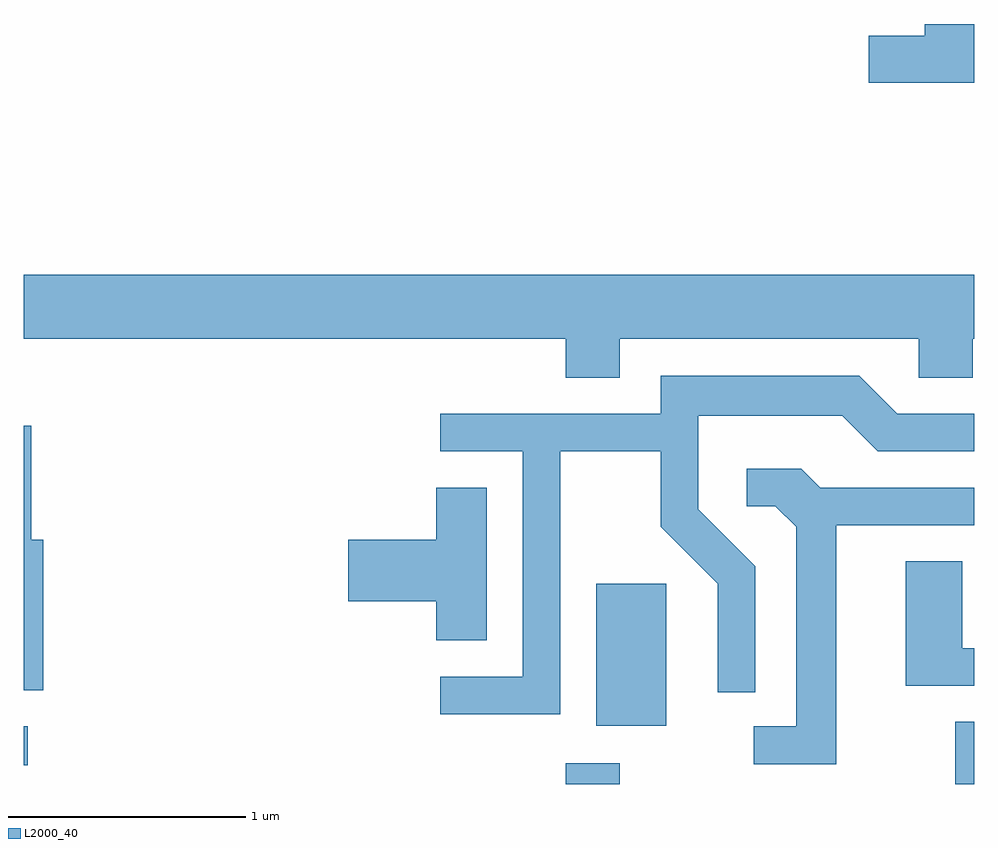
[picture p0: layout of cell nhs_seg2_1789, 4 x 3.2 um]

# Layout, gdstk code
import gdstk
lib = gdstk.Library(unit=1e-6, precision=1e-09)
def R(c, l, rs):  # rectangles x0, y0, x1, y1
    for r in rs: c.add(gdstk.rectangle(r[:2], r[2:], *l))
def P(c, l, *ps):  # polygons
    for p in ps: c.add(gdstk.Polygon(p, *l))
L2000_40 = (2000, 40)

nhs_seg2_1789 = lib.new_cell('nhs_seg2_1789')
R(nhs_seg2_1789, L2000_40, [(239.891,1019.802,240.119,1019.889), (241.531,1019.802,241.611,1020.064), (237.611,1019.881,237.628,1020.044), (240.021,1020.046,240.314,1020.644)])
P(nhs_seg2_1789, L2000_40, [(241.611,1022.999),(241.401,1022.999),(241.401,1022.949),(241.166,1022.949),(241.166,1022.751),(241.611,1022.751)],
  [(240.119,1021.676),(241.376,1021.676),(241.376,1021.511),(241.604,1021.511),(241.604,1021.676),(241.611,1021.676),(241.611,1021.944),(237.611,1021.944),(237.611,1021.676),(239.891,1021.676),(239.891,1021.511),(240.119,1021.511)],
  [(239.869,1021.201),(240.291,1021.201),(240.291,1020.884),(240.531,1020.644),(240.531,1020.188),(240.689,1020.188),(240.689,1020.717),(240.449,1020.957),(240.449,1021.351),(241.054,1021.351),(241.204,1021.201),(241.611,1021.201),(241.611,1021.359),(241.287,1021.359),(241.127,1021.519),(240.291,1021.519),(240.291,1021.359),(239.363,1021.359),(239.363,1021.201),(239.711,1021.201),(239.711,1020.254),(239.363,1020.254),(239.363,1020.096),(239.869,1020.096)],
  [(237.694,1020.829),(237.644,1020.829),(237.644,1021.309),(237.611,1021.309),(237.611,1020.196),(237.694,1020.196)],
  [(241.029,1020.891),(241.611,1020.891),(241.611,1021.049),(240.962,1021.049),(240.882,1021.129),(240.653,1021.129),(240.653,1020.971),(240.774,1020.971),(240.861,1020.884),(240.861,1020.044),(240.683,1020.044),(240.683,1019.886),(241.029,1019.886)],
  [(239.559,1021.049),(239.346,1021.049),(239.346,1020.829),(238.976,1020.829),(238.976,1020.571),(239.346,1020.571),(239.346,1020.406),(239.559,1020.406)],
  [(241.611,1020.374),(241.559,1020.374),(241.559,1020.739),(241.321,1020.739),(241.321,1020.216),(241.611,1020.216)])

lib.write_gds('nhs_seg2_1789.gds')
